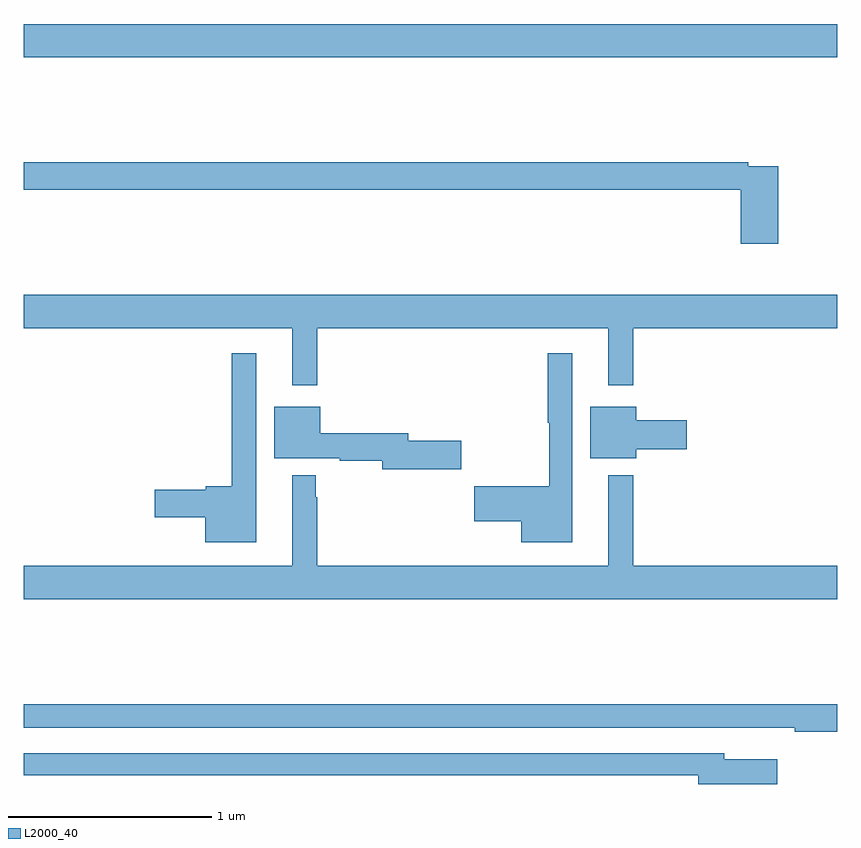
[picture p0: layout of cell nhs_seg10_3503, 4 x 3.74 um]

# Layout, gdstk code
import gdstk
lib = gdstk.Library(unit=1e-6, precision=1e-09)
def R(c, l, rs):  # rectangles x0, y0, x1, y1
    for r in rs: c.add(gdstk.rectangle(r[:2], r[2:], *l))
def P(c, l, *ps):  # polygons
    for p in ps: c.add(gdstk.Polygon(p, *l))
L2000_40 = (2000, 40)

nhs_seg10_3503 = lib.new_cell('nhs_seg10_3503')
R(nhs_seg10_3503, L2000_40, [(301,1316.3,305,1316.464)])
P(nhs_seg10_3503, L2000_40, [(304.709,1315.764),(304.562,1315.764),(304.562,1315.784),(301,1315.784),(301,1315.648),(304.526,1315.648),(304.526,1315.383),(304.709,1315.383)],
  [(302.443,1314.968),(303.875,1314.968),(303.875,1314.687),(303.997,1314.687),(303.997,1314.968),(305,1314.968),(305,1315.132),(301,1315.132),(301,1314.968),(302.321,1314.968),(302.321,1314.687),(302.443,1314.687)],
  [(303.697,1314.844),(303.576,1314.844),(303.576,1314.503),(303.583,1314.503),(303.583,1314.191),(303.216,1314.191),(303.216,1314.02),(303.446,1314.02),(303.446,1313.915),(303.697,1313.915)],
  [(302.143,1314.844),(302.022,1314.844),(302.022,1314.191),(301.896,1314.191),(301.896,1314.173),(301.644,1314.173),(301.644,1314.038),(301.892,1314.038),(301.892,1313.915),(302.143,1313.915)],
  [(303.151,1314.416),(302.89,1314.416),(302.89,1314.452),(302.458,1314.452),(302.458,1314.583),(302.231,1314.583),(302.231,1314.329),(302.554,1314.329),(302.554,1314.316),(302.762,1314.316),(302.762,1314.274),(303.151,1314.274)],
  [(304.012,1314.374),(304.261,1314.374),(304.261,1314.516),(304.012,1314.516),(304.012,1314.583),(303.785,1314.583),(303.785,1314.329),(304.012,1314.329)],
  [(305,1313.8),(303.997,1313.8),(303.997,1314.244),(303.875,1314.244),(303.875,1313.8),(302.443,1313.8),(302.443,1314.137),(302.436,1314.137),(302.436,1314.244),(302.321,1314.244),(302.321,1313.8),(301,1313.8),(301,1313.636),(305,1313.636)],
  [(305,1313.12),(301,1313.12),(301,1313.004),(304.54,1313.004),(304.54,1313.003),(304.792,1313.003),(304.792,1312.984),(305,1312.984)],
  [(304.705,1312.849),(304.444,1312.849),(304.444,1312.878),(301,1312.878),(301,1312.77),(304.316,1312.77),(304.316,1312.727),(304.705,1312.727)])

lib.write_gds('nhs_seg10_3503.gds')
